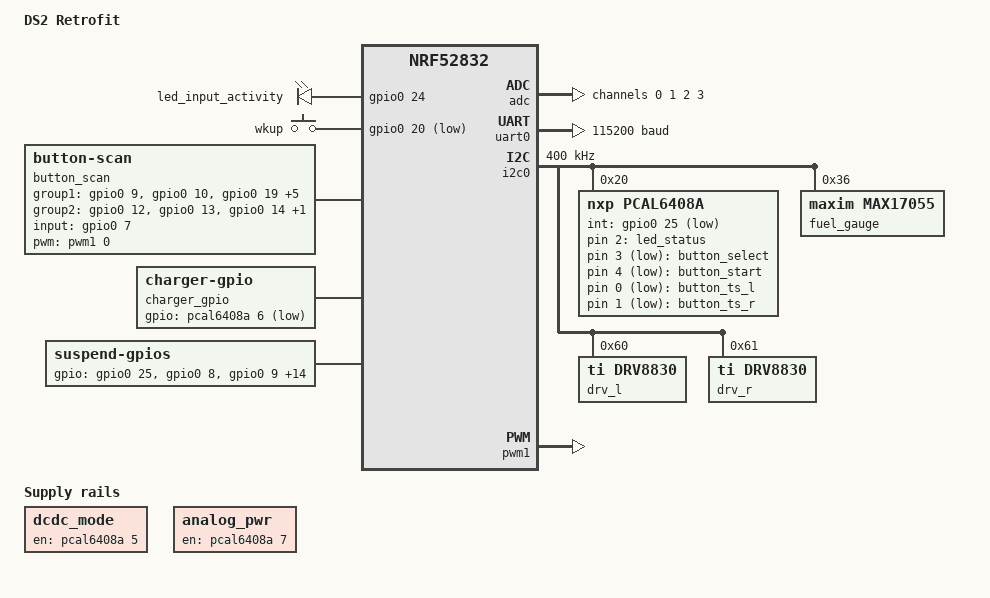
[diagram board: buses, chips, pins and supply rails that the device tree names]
/dts-v1/;
#include <nordic/nrf52832_qfaa.dtsi>
#include <zephyr/dt-bindings/input/input-event-codes.h>
#include "ds2_retrofit-pinctrl.dtsi"
#include <dt-bindings/hid.h>

/ {
	model = "DS2 Retrofit";
	compatible = "balto,ds2-retrofit";

	chosen {
		zephyr,console = &uart0;
		zephyr,shell-uart = &uart0;
		zephyr,uart-mcumgr = &uart0;
		zephyr,sram = &sram0;
		zephyr,flash = &flash0;
		zephyr,code-partition = &slot0_partition;
	};

	leds {
		compatible = "gpio-leds";
		led_input_activity: led_a {
			gpios = <&gpio0 24 GPIO_ACTIVE_HIGH>;
		};
		led_status: led_b {
			gpios = <&pcal6408a 2 GPIO_ACTIVE_HIGH>;
		};
	};

	buttons: buttons {
		compatible = "gpio-keys";
		debounce-interval-ms = <3>;

		wkup: button_analog {
			gpios = <&gpio0 20 (GPIO_PULL_UP | GPIO_ACTIVE_LOW)>;
			zephyr,code = <INPUT_BTN_MODE>;
		};
		button_select {
			gpios = <&pcal6408a 3 (GPIO_PULL_UP | GPIO_ACTIVE_LOW)>;
			zephyr,code = <INPUT_BTN_SELECT>;
		};
		button_start {
			gpios = <&pcal6408a 4 (GPIO_PULL_UP | GPIO_ACTIVE_LOW)>;
			zephyr,code = <INPUT_BTN_START>;
		};
		button_ts_l {
			gpios = <&pcal6408a 0 (GPIO_PULL_UP | GPIO_ACTIVE_LOW)>;
			zephyr,code = <INPUT_BTN_THUMBL>;
		};
		button_ts_r {
			gpios = <&pcal6408a 1 (GPIO_PULL_UP | GPIO_ACTIVE_LOW)>;
			zephyr,code = <INPUT_BTN_THUMBR>;
		};
	};

	button_scan: button-scan {
		compatible = "button-scan";
		group1-gpios = <&gpio0  9 GPIO_ACTIVE_HIGH>, /* UP */
			       <&gpio0 10 GPIO_ACTIVE_HIGH>, /* DOWN */
			       <&gpio0 19 GPIO_ACTIVE_HIGH>, /* NORTH */
			       <&gpio0 18 GPIO_ACTIVE_HIGH>, /* SOUTH */
			       <&gpio0 11 GPIO_ACTIVE_HIGH>, /* L1 */
			       <&gpio0  8 GPIO_ACTIVE_HIGH>, /* L2 */
			       <&gpio0 16 GPIO_ACTIVE_HIGH>, /* R1 */
			       <&gpio0 17 GPIO_ACTIVE_HIGH>; /* R2 */
		codes-group1 = <INPUT_BTN_DPAD_UP>,
			       <INPUT_BTN_DPAD_DOWN>,
			       <INPUT_BTN_NORTH>,
			       <INPUT_BTN_SOUTH>,
			       <INPUT_BTN_TL>,
			       <INPUT_BTN_TL2>,
			       <INPUT_BTN_TR>,
			       <INPUT_BTN_TR2>;

		group2-gpios = <&gpio0 12 GPIO_ACTIVE_HIGH>, /* LEFT */
			       <&gpio0 13 GPIO_ACTIVE_HIGH>, /* RIGHT */
			       <&gpio0 14 GPIO_ACTIVE_HIGH>, /* WEST */
			       <&gpio0 15 GPIO_ACTIVE_HIGH>; /* EAST */
		codes-group2 = <INPUT_BTN_DPAD_LEFT>,
			       <INPUT_BTN_DPAD_RIGHT>,
			       <INPUT_BTN_WEST>,
			       <INPUT_BTN_EAST>;

		group-delay-ms = <4>;
		input-gpios = <&gpio0 7 GPIO_ACTIVE_HIGH>;
		input-delay-us = <6>;
		pwms = <&pwm1 0 PWM_KHZ(100) PWM_POLARITY_NORMAL>;
		pulse-group1-pct = <30>;
		pulse-group2-pct = <27>;
	};

	aa: analog_axis {
		compatible = "analog-axis";
		axis-y {
			io-channels = <&adc 0>;
			in-deadzone = <16>;
			in-min = <(-160)>;
			in-max = <160>;
			zephyr,axis = <INPUT_ABS_Y>;
			invert-input;
		};
		axis-x {
			io-channels = <&adc 1>;
			in-deadzone = <16>;
			in-min = <(-160)>;
			in-max = <160>;
			zephyr,axis = <INPUT_ABS_X>;
		};
		axis-ry {
			io-channels = <&adc 2>;
			in-deadzone = <16>;
			in-min = <(-160)>;
			in-max = <160>;
			zephyr,axis = <INPUT_ABS_RY>;
			invert-input;
		};
		axis-rx {
			io-channels = <&adc 3>;
			in-deadzone = <16>;
			in-min = <(-160)>;
			in-max = <160>;
			zephyr,axis = <INPUT_ABS_RX>;
		};
	};

	dcdc_mode: dcdc_mode {
		 compatible = "regulator-fixed";
		 regulator-name = "dcdc_mode";
		 enable-gpios = <&pcal6408a 5 GPIO_ACTIVE_HIGH>;
	};

	analog_pwr: analog_pwr {
		 compatible = "regulator-fixed";
		 regulator-name = "analog_pwr";
		 enable-gpios = <&pcal6408a 7 GPIO_ACTIVE_HIGH>;
		 regulator-boot-on;
	};

	charger_gpio: charger-gpio {
		compatible = "charger-gpio";
		gpios = <&pcal6408a 6 (GPIO_PULL_UP | GPIO_ACTIVE_LOW)>;
	};

	suspend-gpios {
		compatible = "suspend-gpios";
		gpios = <&gpio0 25 (GPIO_PULL_DOWN | GPIO_ACTIVE_HIGH)>,
			<&gpio0  8 (GPIO_PULL_DOWN | GPIO_ACTIVE_HIGH)>,
			<&gpio0  9 (GPIO_PULL_DOWN | GPIO_ACTIVE_HIGH)>,
			<&gpio0 10 (GPIO_PULL_DOWN | GPIO_ACTIVE_HIGH)>,
			<&gpio0 11 (GPIO_PULL_DOWN | GPIO_ACTIVE_HIGH)>,
			<&gpio0 12 (GPIO_PULL_DOWN | GPIO_ACTIVE_HIGH)>,
			<&gpio0 13 (GPIO_PULL_DOWN | GPIO_ACTIVE_HIGH)>,
			<&gpio0 14 (GPIO_PULL_DOWN | GPIO_ACTIVE_HIGH)>,
			<&gpio0 15 (GPIO_PULL_DOWN | GPIO_ACTIVE_HIGH)>,
			<&gpio0 16 (GPIO_PULL_DOWN | GPIO_ACTIVE_HIGH)>,
			<&gpio0 17 (GPIO_PULL_DOWN | GPIO_ACTIVE_HIGH)>,
			<&gpio0 18 (GPIO_PULL_DOWN | GPIO_ACTIVE_HIGH)>,
			<&gpio0 19 (GPIO_PULL_DOWN | GPIO_ACTIVE_HIGH)>,
			<&pcal6408a 0 (GPIO_PULL_DOWN | GPIO_ACTIVE_HIGH)>,
			<&pcal6408a 1 (GPIO_PULL_DOWN | GPIO_ACTIVE_HIGH)>,
			<&pcal6408a 3 (GPIO_PULL_DOWN | GPIO_ACTIVE_HIGH)>,
			<&pcal6408a 4 (GPIO_PULL_DOWN | GPIO_ACTIVE_HIGH)>;
	};

	hid {
		compatible = "hid";
		input {
			hid-gamepad {
				compatible = "hid-gamepad";
				input = <&aa &buttons &button_scan>;
				input-id = <1>;
				report = <HID_GAMEPAD_REPORT(1)>;
			};
		};
		output {
			hid-hog {
				compatible = "hid-hog";
			};
		};
	};

	ble-unpair {
		input = <&buttons>;
		compatible = "ble-unpair";
		key-a = <INPUT_BTN_MODE>;
		key-b = <INPUT_BTN_START>;
	};
};

&uicr {
	nfct-pins-as-gpios;
	gpio-as-nreset;
};

&reg {
	regulator-initial-mode = <NRF5X_REG_MODE_DCDC>;
};

&adc {
	status = "okay";
	#address-cells = <1>;
	#size-cells = <0>;

	channel@0 {
		reg = <0>;
		zephyr,gain = "ADC_GAIN_4";
		zephyr,reference = "ADC_REF_INTERNAL";
		zephyr,acquisition-time = <ADC_ACQ_TIME(ADC_ACQ_TIME_MICROSECONDS, 3)>;
		zephyr,input-positive = <NRF_SAADC_AIN0>;
		zephyr,input-negative = <NRF_SAADC_AIN1>;
		zephyr,resolution = <10>;
	};

	channel@1 {
		reg = <1>;
		zephyr,gain = "ADC_GAIN_4";
		zephyr,reference = "ADC_REF_INTERNAL";
		zephyr,acquisition-time = <ADC_ACQ_TIME(ADC_ACQ_TIME_MICROSECONDS, 3)>;
		zephyr,input-positive = <NRF_SAADC_AIN3>;
		zephyr,input-negative = <NRF_SAADC_AIN2>;
		zephyr,resolution = <10>;
	};

	channel@2 {
		reg = <2>;
		zephyr,gain = "ADC_GAIN_4";
		zephyr,reference = "ADC_REF_INTERNAL";
		zephyr,acquisition-time = <ADC_ACQ_TIME(ADC_ACQ_TIME_MICROSECONDS, 3)>;
		zephyr,input-positive = <NRF_SAADC_AIN5>;
		zephyr,input-negative = <NRF_SAADC_AIN4>;
		zephyr,resolution = <10>;
	};

	channel@3 {
		reg = <3>;
		zephyr,gain = "ADC_GAIN_4";
		zephyr,reference = "ADC_REF_INTERNAL";
		zephyr,acquisition-time = <ADC_ACQ_TIME(ADC_ACQ_TIME_MICROSECONDS, 3)>;
		zephyr,input-positive = <NRF_SAADC_AIN7>;
		zephyr,input-negative = <NRF_SAADC_AIN6>;
		zephyr,resolution = <10>;
	};
};

&gpiote {
	status = "okay";
};

&gpio0 {
	status = "okay";
};

&uart0 {
	status = "okay";
	compatible = "nordic,nrf-uarte";
	current-speed = <115200>;
	pinctrl-0 = <&uart0_default>;
	pinctrl-1 = <&uart0_sleep>;
	pinctrl-names = "default", "sleep";
};

&i2c0 {
	compatible = "nordic,nrf-twi";
	status = "okay";
	clock-frequency = <I2C_BITRATE_FAST>;
	pinctrl-0 = <&i2c0_default>;
	pinctrl-1 = <&i2c0_sleep>;
	pinctrl-names = "default", "sleep";

	pcal6408a: pcal6408a@20 {
		compatible = "nxp,pcal6408a";
		status = "okay";
		reg = <0x20>;
		gpio-controller;
		#gpio-cells = <2>;
		ngpios = <8>;
		int-gpios = <&gpio0 25 (GPIO_PULL_UP | GPIO_ACTIVE_LOW)>;
	};

	fuel_gauge: max17055@36 {
		compatible = "maxim,max17055";
		reg = <0x36>;
		design-capacity = <150>;
		design-voltage = <4200>;
		desired-voltage = <4200>;
		desired-charging-current = <450>;
		i-chg-term = <10>;
		rsense-mohms = <7>;
		v-empty = <2800>;
	};

	drv_l: drv8830@60 {
		compatible = "ti,drv8830";
		reg = <0x60>;
	};

	drv_r: drv8830@61 {
		compatible = "ti,drv8830";
		reg = <0x61>;
	};
};

&pwm1 {
	status = "okay";
	pinctrl-0 = <&pwm1_default>;
	pinctrl-1 = <&pwm1_sleep>;
	pinctrl-names = "default", "sleep";
};

&flash0 {
	partitions {
		compatible = "fixed-partitions";
		#address-cells = <1>;
		#size-cells = <1>;

		boot_partition: partition@0 {
			label = "mcuboot";
			reg = <0x00000000 0x8000>;
		};
		slot0_partition: partition@8000 {
			label = "image-0";
			reg = <0x00008000 0x3a000>;
		};
		slot1_partition: partition@42000 {
			label = "image-1";
			reg = <0x00042000 0x3a000>;
		};
		storage_partition: partition@7c000 {
			label = "storage";
			reg = <0x0007c000 0x00004000>;
		};
	};
};
